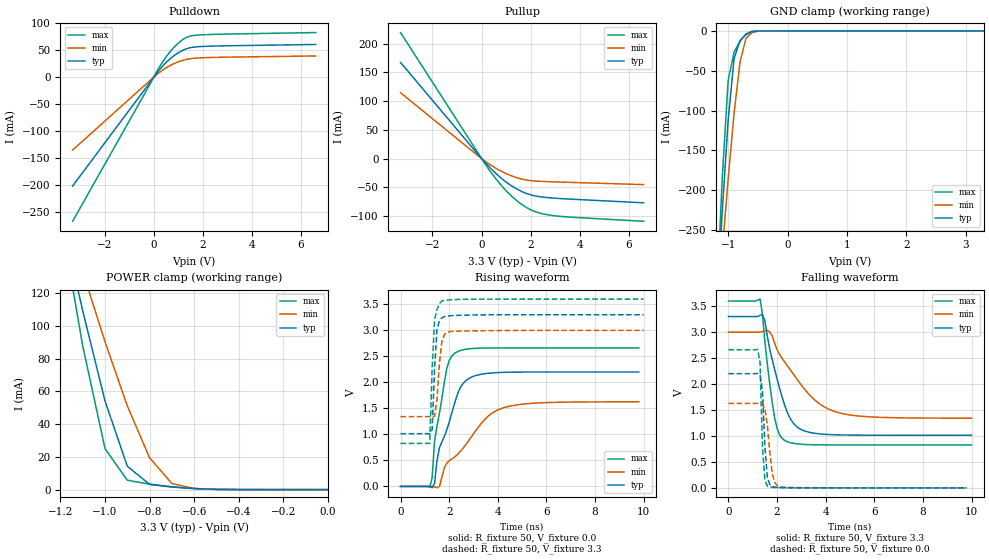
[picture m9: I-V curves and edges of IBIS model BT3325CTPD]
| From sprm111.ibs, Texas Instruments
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[Model]   BT3325CTPD
| I/O with pulldown
Model_type   I/O
Vinh = 2.00
Vinl = 0.80
Enable   Active-Low
Polarity   Non-Inverting
| signals   A, GZ, Y
Vmeas = 1.5
|   typ   min   max
C_comp   1.6130p   1.5354p   1.7989p
|   typ   min   max
[Temperature Range]   25   -40   125
|   typ   min   max
[Voltage Range]   3.30V   3.00V   3.60V
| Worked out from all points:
|   slope of the pulldown table from 0 to 0.495 V, typ, clamps not added: 18.4 ohm
|   slope of the pullup table from 0 to 0.495 V, typ, clamps not added: 22.1 ohm
|   GND clamp passes 1 mA (typ) near -0.60 V on its own axis
|   POWER clamp passes 1 mA (typ) near -0.64 V on its own axis
|   rising waveform, R_fixture 50, V_fixture 0.0: 20-80 % time 850ps typ, 1.71ns min, 498ps max; typ from 0 V to 2.2 V
|   falling waveform, R_fixture 50, V_fixture 3.3: 20-80 % time 776ps typ, 1.6ns min, 434ps max; typ from 3.3 V to 1.01 V
|   rising waveform, R_fixture 50, V_fixture 3.3: 20-80 % time 144ps typ, 173ps min, 144ps max; typ from 1.01 V to 3.3 V
|   falling waveform, R_fixture 50, V_fixture 0.0: 20-80 % time 150ps typ, 219ps min, 121ps max; typ from 2.2 V to 0 V
[Pulldown]
|   Voltage   I(typ)   I(min)   I(max)
-3.3V     -201.5mA   -134.9mA   -267mA
200mV     11.94mA    7.607mA    16.41mA
600mV     31.43mA    19.94mA    43.44mA
800mV     39.06mA    24.71mA    54.18mA
1.1V      47.98mA    30.18mA    66.99mA
1.4V      53.8mA     33.69mA    75.19mA
1.9V      56.88mA    36.01mA    78.53mA
6.6V      60.8mA     39.52mA    82.88mA
[GND_clamp]
|   Voltage   I(typ)   I(min)   I(max)
-3.3V     -3.364A    -2.538A    -4.366A
-1.2V     -355.4mA   -371.5mA   -350.5mA
-1.1V     -227.1mA   -276.6mA   -185.3mA
-1V       -112mA     -185.8mA   -62.16mA
-900mV    -34.3mA    -103.1mA   -26.42mA
-800mV    -12.1mA    -38.8mA    -12.76mA
-700mV    -4.448mA   -9.108mA   -3.783mA
-600mV    -903.9uA   -2.155mA   -502.2uA
-400mV    -40.42uA   -67.44uA   -56.26uA
3.3V      100.8uA    54.24uA    177.3uA
[Pullup]
|   Voltage   I(typ)   I(min)   I(max)
-3.3V     167.1mA    114.5mA    219.1mA
-200mV    10mA       6.709mA    13.35mA
300mV     -14.08mA   -9.224mA   -19.1mA
600mV     -26.64mA   -17.31mA   -36.28mA
900mV     -37.6mA    -24.2mA    -51.46mA
1.2V      -46.92mA   -29.85mA   -64.58mA
1.5V      -54.52mA   -34.2mA    -75.59mA
1.8V      -60.33mA   -37.21mA   -84.42mA
2.1V      -64.3mA    -38.87mA   -91.01mA
2.7V      -68.04mA   -40.24mA   -98mA
3.6V      -70.63mA   -41.51mA   -101.9mA
6.6V      -77.05mA   -45.41mA   -109.2mA
[POWER_clamp]
|   Voltage   I(typ)   I(min)   I(max)
-3.3V     1.575A     1.191A     2.043A
-1.2V     169.6mA    177.7mA    166.3mA
-1.1V     109.1mA    133.1mA    87.77mA
-1V       54.12mA    90.35mA    24.99mA
-900mV    14.26mA    51.09mA    5.719mA
-800mV    3.198mA    19.47mA    3.326mA
-700mV    1.555mA    3.689mA    1.723mA
-600mV    651.9uA    701.7uA    604.8uA
-400mV    15.1uA     22.01uA    4.72uA
0V        399.7pA    10.48nA    133.2pA
[Ramp]
|   I(typ)   I(min)   I(max)
dV/dt_r   1.320/0.848n   0.976/1.713n   1.597/0.501n
dV/dt_f   1.372/0.780n   0.995/1.605n   1.664/0.436n
[Rising Waveform]
R_fixture = 50
V_fixture = 0.0
|  pu_on
|  TIME   V(typ)   V(min)   V(max)
0s        2nV        12nV       1nV
1.2ns     2.157mV    1.087mV    -18.72mV
1.3ns     -25.42mV   1.598mV    167.7mV
1.4ns     61.1mV     -9.151mV   872.5mV
1.6ns     742.6mV    -1.403mV   1.4V
1.9ns     1.084V     446.9mV    2.261V
2.3ns     1.713V     595.2mV    2.581V
2.9ns     2.097V     945.3mV    2.649V
4.3ns     2.193V     1.52V      2.662V
9.8ns     2.2V       1.626V     2.662V
[Falling Waveform]
R_fixture = 50
V_fixture = 3.3
V_fixture_min = 3.0
V_fixture_max = 3.6
|  pd_on
|  TIME   V(typ)   V(min)   V(max)
0s        3.3V       3V         3.6V
1.3ns     3.323V     3.002V     3.636V
1.4ns     3.339V     3.011V     3.342V
1.5ns     3.218V     3.025V     2.812V
1.9ns     2.282V     2.788V     1.351V
2.1ns     1.924V     2.573V     1.022V
2.3ns     1.61V      2.434V     917.4mV
2.9ns     1.147V     2.041V     843.6mV
4.4ns     1.022V     1.466V     826.9mV
10ns      1.014V     1.342V     826.4mV
[Rising Waveform]
R_fixture = 50
V_fixture = 3.3
V_fixture_min = 3.0
V_fixture_max = 3.6
|  pd_off
|  TIME   V(typ)   V(min)   V(max)
0s        1.014V     1.342V     826.4mV
1.2ns     1.007V     1.343V     827.5mV
1.3ns     1.093V     1.327V     2.255V
1.4ns     2.263V     1.349V     3.205V
1.5ns     3.021V     1.672V     3.399V
1.6ns     3.184V     2.37V      3.514V
1.7ns     3.241V     2.78V      3.563V
1.8ns     3.263V     2.915V     3.577V
2.1ns     3.283V     2.979V     3.588V
10ns      3.3V       3V         3.6V
[Falling Waveform]
R_fixture = 50
V_fixture = 0.0
|  pu_off
|  TIME   V(typ)   V(min)   V(max)
0s        2.2V       1.626V     2.662V
1.2ns     2.206V     1.629V     2.668V
1.3ns     2.178V     1.634V     2.417V
1.4ns     1.865V     1.612V     776.7mV
1.5ns     790.7mV    1.521V     148.6mV
1.6ns     205mV      1.209V     34.17mV
1.8ns     25.87mV    284.3mV    9.32mV
1.9ns     13.53mV    107.5mV    7.244mV
2.1ns     7.396mV    24.01mV    4.838mV
9.8ns     1.786uV    6.55uV     476nV
